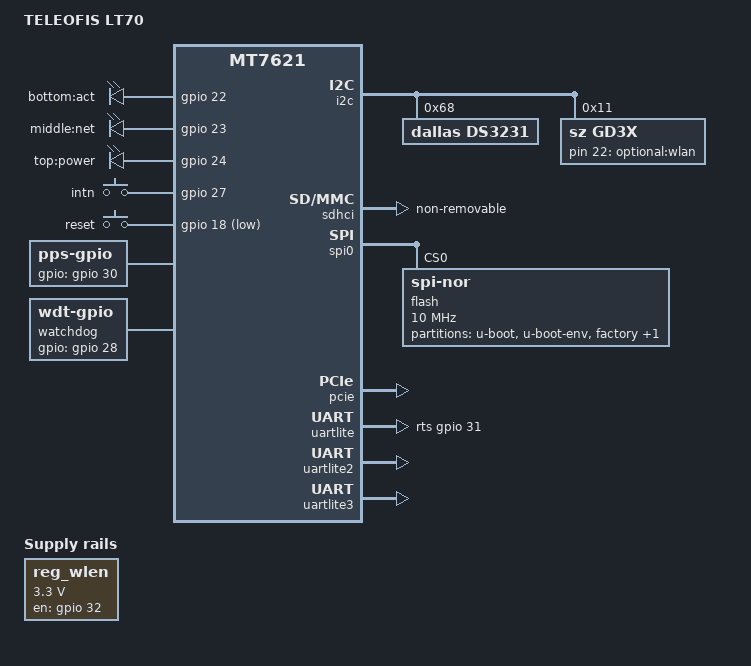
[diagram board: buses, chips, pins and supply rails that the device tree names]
#include "mt7621.dtsi"

#include <dt-bindings/gpio/gpio.h>
#include <dt-bindings/input/input.h>

/ {
	compatible = "teleofis,lt70", "mediatek,mt7621-soc";
	model = "TELEOFIS LT70";

	chosen {
		bootargs = "console=ttyS1,115200";
	};

	leds {
		compatible = "gpio-leds";
		act {
			label = "bottom:act";
			gpios = <&gpio 22 GPIO_ACTIVE_HIGH>;
			default-state = "on";
		};
		net {
			label = "middle:net";
			gpios = <&gpio 23 GPIO_ACTIVE_HIGH>;
			default-state = "on";
		};
		power {
			label = "top:power";
			gpios = <&gpio 24 GPIO_ACTIVE_HIGH>;
			default-state = "on";
		};
		wlan {
			label = "optional:wlan";
			gpios = <&gd3x 22 GPIO_ACTIVE_HIGH>;
		};
	};

	keys {
		compatible = "gpio-keys";
		intn {
			label = "intn";
			gpios = <&gpio 27 GPIO_ACTIVE_HIGH>;
			linux,code = <0x100>;
		};
		reset {
			label = "reset";
			gpios = <&gpio 18 GPIO_ACTIVE_LOW>;
			linux,code = <KEY_RESTART>;
		};
	};

	pps {
		compatible = "pps-gpio";
		gpios = <&gpio 30 GPIO_ACTIVE_HIGH>;
		status = "okay";
	};

	watchdog {
		compatible = "linux,wdt-gpio";
		gpios = <&gpio 28 GPIO_ACTIVE_HIGH>;
		hw_algo = "toggle";
		hw_margin_ms = <200>;
		always-running;
	};

	reg_wlen: wlen {
		compatible = "regulator-fixed";
		regulator-name = "wlen";
		regulator-min-microvolt = <3300000>;
		regulator-max-microvolt = <3300000>;
		gpio = <&gpio 32 GPIO_ACTIVE_HIGH>;
		enable-active-high;
		regulator-always-on;
	};
};

&i2c {
	status = "okay";

	ds3231: rtc@68 {
		compatible = "dallas,ds3231";
		reg = <0x68>;
	};
	gd3x: gd3x@11 {
		compatible = "sz,gd3x";
		reg = <0x11>;
		gpio-controller;
		#gpio-cells = <2>;
	};
};

&sdhci {
	max-frequency = <40000000>;
	vdd-supply = <&reg_wlen>;
	no-1-8-v;
	pm-ignore-notify;
	keep-power-in-suspend;
	non-removable;
	status = "okay";
};

&spi0 {
	status = "okay";

	flash@0 {
		compatible = "jedec,spi-nor";
		reg = <0>;
		spi-max-frequency = <10000000>;
		broken-flash-reset;

		partitions {
			compatible = "fixed-partitions";
			#address-cells = <1>;
			#size-cells = <1>;

			partition@0 {
				label = "u-boot";
				reg = <0x0 0x30000>;
				read-only;
			};

			partition@30000 {
				label = "u-boot-env";
				reg = <0x30000 0x10000>;
			};

			factory: partition@40000 {
				label = "factory";
				reg = <0x40000 0x10000>;
				read-only;
			};

			firmware: partition@50000 {
				compatible = "denx,uimage";
				label = "firmware";
				reg = <0x50000 0x1fb0000>;
			};
		};
	};
};

&pcie {
	status = "okay";
};

&pcie0 {
	vdd-supply = <&reg_wlen>;
};

&pcie1 {
	vdd-supply = <&reg_wlen>;
};

&pcie2 {
	vdd-supply = <&reg_wlen>;
};

&ethernet {
	pinctrl-0 = <&mdio_pins>, <&rgmii1_pins>;
};

&switch0 {
	ports {
		port@0 {
			status = "okay";
			label = "lan4";
		};

		port@1 {
			status = "okay";
			label = "lan3";
		};

		port@2 {
			status = "okay";
			label = "lan2";
		};

		port@3 {
			status = "okay";
			label = "wan";
		};

		port@4 {
			status = "okay";
			label = "lan1";
		};
	};
};

&uartlite {
	status = "okay";
	rts-gpios = <&gpio 31 GPIO_ACTIVE_HIGH>;
	rs485-rts-active-high;
};

&uartlite2 {
	status = "okay";
};

&uartlite3 {
	status = "okay";
	uart-has-rts-cts;
	rs485-rts-active-high;
};

&state_default {
	gpio {
		groups = "wdt", "rgmii2", "jtag";
		function = "gpio";
	};
};
